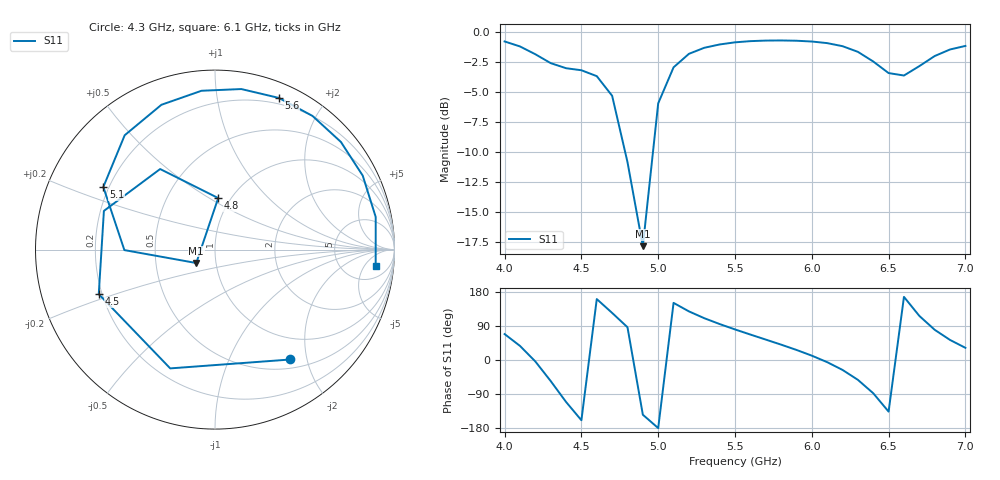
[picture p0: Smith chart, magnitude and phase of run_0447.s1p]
! Touchstone file exported from HFSS 2024.2.0
!  File:  C:/Users/wsak9/Desktop/Sim Fast/Widenad Patch/WP_AI_V1_sweep.aedt
!  Generated:  10:27:18 AM Oct 14, 2026
!  Design:  A1_model
!  Project:  WP_AI_V1_sweep
!  Setup:  Setup1
!  Solution:  Sweep
! Variables:
!  Air_gap = 4.03mm
!  Curve_Amp1 = 3.04
!  Curve_len1 = 1
!  Curve_pos = 12.03mm
!  Extra = 0.9mm
!  H_sub = 0.79mm
!  L_Patch = 20.06mm
!  L_Patch1 = 11.59mm
!  Sx = 1.73mm
!  Sy = 0.37mm
!  WS = 0.6mm
!  W_Patch = 17.13mm
!  W_Patch1 = 10.69mm
!Data is not renormalized
# GHz S MA
! Terminal data exported
! Port[1] = 1
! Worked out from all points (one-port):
!   31 points, 4 GHz to 7 GHz, reference per port
!   lowest |S11| = -17.8 dB at 4.9 GHz (marker M1), VSWR 1.29
!   |S11| at or under -10 dB: 4.785 GHz to 4.966 GHz (180.8 MHz wide, 3.71 % of centre)
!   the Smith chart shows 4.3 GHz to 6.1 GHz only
!   S11 on the Smith chart (normalised r, x): 4.3 GHz: 0.63, -1.72; 4.5 GHz: 0.19, -0.18; 4.8 GHz: 0.88, +0.55; 5.1 GHz: 0.18, +0.25; 5.6 GHz: 0.14, +1.50; 6.1 GHz: 10, -9
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4  0.9141 68.4
4.1  0.8715 37.2
4.2  0.8087 -3.8
4.3  0.7426 -55.5
4.4  0.7073 -110.6
4.5  0.6936 -159.0
4.6  0.6554 160.8
4.7  0.543 124.3
4.8  0.2876 86.4
4.9  0.1284 -144.4
5  0.5049 -179.7
5.1  0.7133 150.7
5.2  0.8118 128.3
5.3  0.8603 110.3
5.5  0.9064 80.7
5.6  0.9169 67.2
5.7  0.9218 53.9
5.9  0.9205 26.6
6.1  0.8997 -5.7
6.2  0.8737 -26.2
6.3  0.8275 -52.3
6.4  0.7544 -87.7
6.5  0.675 -136.2
6.6  0.6594 166.5
6.7  0.7215 116.4
6.8  0.7948 79.8
6.9  0.8465 52.9
7  0.8758 32.1
